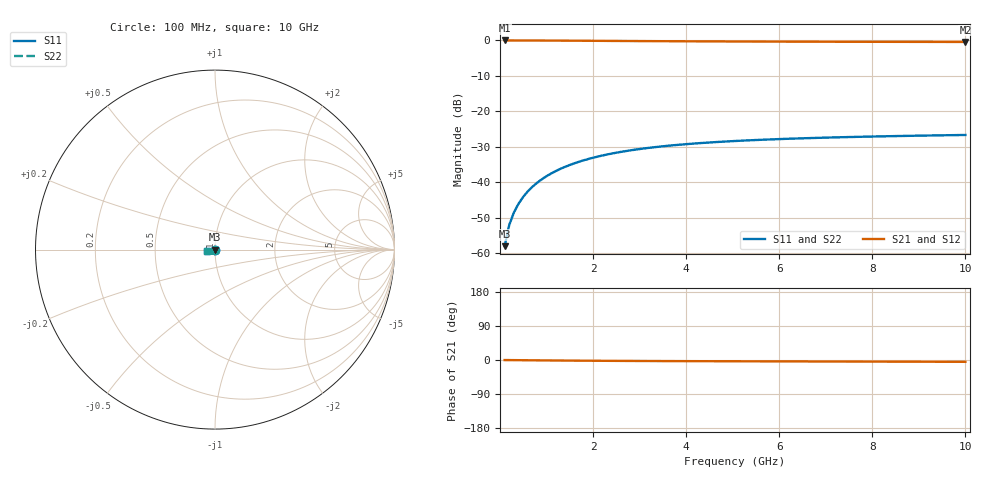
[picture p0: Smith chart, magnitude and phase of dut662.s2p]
! Touchstone file exported from HFSS 2024.1.0
!  File:  C:/UserFiles/LocalFiles/RDL_TSV_Batchsim/temp_TSV1_662_1779793169.aedt
!  Generated:  07:07:14 PM May 26, 2026
!  Design:  TSV1
!  Project:  temp_TSV1_662_1779793169
!  Setup:  Setup1
!  Solution:  Sweep
! Variables:
!  dtsv = 10.88um
!  hbump = 3um
!  htsv = 74.22um
!  lrdl = 252.1521522um
!  p = 40
!  p1 = 46.71um
!  t = 500um
!  trdl = 3um
!  wrdl = 24.89489489um
# GHz S MA R 50.000000
! Terminal data exported
! Port[1] = TSV22_T1
! Port[2] = TSV22_T2
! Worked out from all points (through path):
!   100 points, 100 MHz to 10 GHz, reference 50 ohm
!   highest |S21| = 0.00 dB at 100 MHz (marker M1); lowest = -0.4 dB at 10 GHz (marker M2)
!   lowest |S11| = -58.0 dB at 100 MHz (marker M3), VSWR 1.00, Z = 50 - j0.125 ohm
!   |S11| at or under -10 dB: start of sweep to end of sweep
!   |S22| runs from -58.0 to -26.7 dB; largest |S21 - S12| = 9.6e-15
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0.1  0.001254 -86.3  0.9998 -0.1  0.9998 -0.1  0.001254 -86.3
! Gamma 0 0 0 0
! Port Impedance 50 0 50 0
0.2  0.002501 -90.5  0.9997 -0.2  0.9997 -0.2  0.002501 -90.5
0.3  0.00375 -92.9  0.9995 -0.4  0.9995 -0.4  0.00375 -92.9
0.4  0.004994 -95.0  0.9992 -0.5  0.9992 -0.5  0.004994 -95.0
0.5  0.006229 -96.9  0.9989 -0.6  0.9989 -0.6  0.006229 -96.9
0.6  0.007453 -98.8  0.9985 -0.7  0.9985 -0.7  0.007453 -98.8
0.7  0.008661 -100.6  0.998 -0.8  0.998 -0.8  0.008661 -100.6
0.8  0.009851 -102.3  0.9975 -0.9  0.9975 -0.9  0.009851 -102.3
0.9  0.01102 -104.0  0.997 -1.0  0.997 -1.0  0.01102 -104.0
1.1  0.01329 -107.2  0.9957 -1.2  0.9957 -1.2  0.01329 -107.2
1.4  0.0165 -111.9  0.9935 -1.5  0.9935 -1.5  0.0165 -111.9
1.6  0.01851 -114.9  0.9919 -1.7  0.9919 -1.7  0.01851 -114.9
1.8  0.0204 -117.7  0.9902 -1.8  0.9902 -1.8  0.0204 -117.7
2.1  0.02301 -121.7  0.9876 -2.1  0.9876 -2.1  0.02301 -121.7
2.5  0.02611 -126.6  0.9842 -2.3  0.9842 -2.3  0.02611 -126.6
2.9  0.02879 -131.1  0.9809 -2.5  0.9809 -2.5  0.02879 -131.1
3.4  0.03164 -136.1  0.977 -2.8  0.977 -2.8  0.03164 -136.1
4.2  0.03526 -143.0  0.9716 -3.1  0.9716 -3.1  0.03526 -143.0
5.1  0.03831 -149.4  0.9667 -3.4  0.9667 -3.4  0.03831 -149.4
6.7  0.04205 -158.5  0.9604 -3.9  0.9604 -3.9  0.04205 -158.5
8.4  0.04467 -166.0  0.9559 -4.3  0.9559 -4.3  0.04467 -166.0
10  0.04643 -171.8  0.9529 -4.8  0.9529 -4.8  0.04643 -171.8
